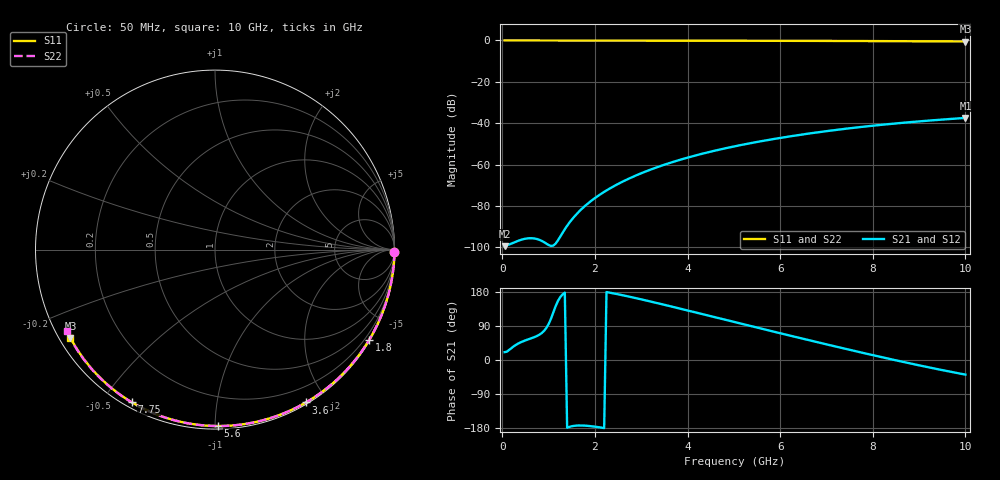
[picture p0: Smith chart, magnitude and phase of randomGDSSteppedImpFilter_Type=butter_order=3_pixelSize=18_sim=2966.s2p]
! freq	dB(S11)	phase(S11)	dB(S12)	phase(S12)
!  dB(S21)	phase(S21)	dB(S22)	phase(S22)
!S-par simulation data
#  GHz  S  DB  R 50
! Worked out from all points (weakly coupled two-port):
!   200 points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, 50 MHz to 10 GHz, reference 50 ohm
!   highest |S21| = -37.44 dB at 10 GHz (marker M1); lowest = -99.4 dB at 50 MHz (marker M2)
!   lowest |S11| = -0.5 dB at 10 GHz (marker M3), VSWR 34.38, Z = 1.57 - j14 ohm
!   |S11| at or under -10 dB: nowhere
!   |S22| runs from -0.5 to 0.0 dB; largest |S21 - S12| = 0
!   S11 on the Smith chart (normalised r, x): 50 MHz: open; 1.8 GHz: 0.03, -3.68; 3.6 GHz: 0.02, -1.76; 5.6 GHz: 0.02, -1.02; 7.75 GHz: 0.02, -0.59; 10 GHz: 0.03, -0.28
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0.05  -0.00 -0.9  -99.43 20.7  -99.43 20.7  -0.00 -0.9
0.45  -0.01 -7.7  -96.07 49.5  -96.07 49.5  -0.01 -7.8
0.9  -0.02 -15.3  -97.47 76.6  -97.47 76.6  -0.02 -15.5
1.75  -0.04 -29.5  -80.71 -173.0  -80.71 -173.0  -0.04 -29.8
1.8  -0.04 -30.4  -79.71 -173.4  -79.71 -173.4  -0.04 -30.6
1.95  -0.04 -32.8  -77.01 -175.1  -77.01 -175.1  -0.04 -33.1
2.1  -0.05 -35.3  -74.64 -177.7  -74.64 -177.7  -0.05 -35.6
2.3  -0.05 -38.6  -71.83 178.2  -71.83 178.2  -0.05 -38.9
2.5  -0.05 -41.8  -69.35 173.4  -69.35 173.4  -0.05 -42.2
2.9  -0.06 -48.2  -65.12 162.9  -65.12 162.9  -0.06 -48.6
3.4  -0.07 -56.1  -60.82 148.6  -60.82 148.6  -0.07 -56.6
3.6  -0.08 -59.2  -59.32 142.7  -59.32 142.7  -0.08 -59.7
4.3  -0.10 -69.9  -54.85 121.7  -54.85 121.7  -0.10 -70.5
5.05  -0.13 -81.1  -51.01 99.0  -51.01 99.0  -0.13 -81.8
5.6  -0.15 -89.0  -48.65 82.5  -48.65 82.5  -0.15 -89.8
6.15  -0.17 -96.8  -46.58 66.2  -46.58 66.2  -0.17 -97.7
6.7  -0.20 -104.4  -44.75 50.0  -44.75 50.0  -0.20 -105.4
7.2  -0.24 -111.2  -43.26 35.5  -43.26 35.5  -0.24 -112.3
7.75  -0.28 -118.6  -41.81 19.8  -41.81 19.8  -0.28 -119.9
8.35  -0.33 -126.6  -40.42 3.2  -40.42 3.2  -0.33 -128.1
9.2  -0.41 -137.9  -38.75 -19.2  -38.75 -19.2  -0.41 -139.8
10  -0.51 -148.6  -37.44 -38.5  -37.44 -38.5  -0.51 -151.1
